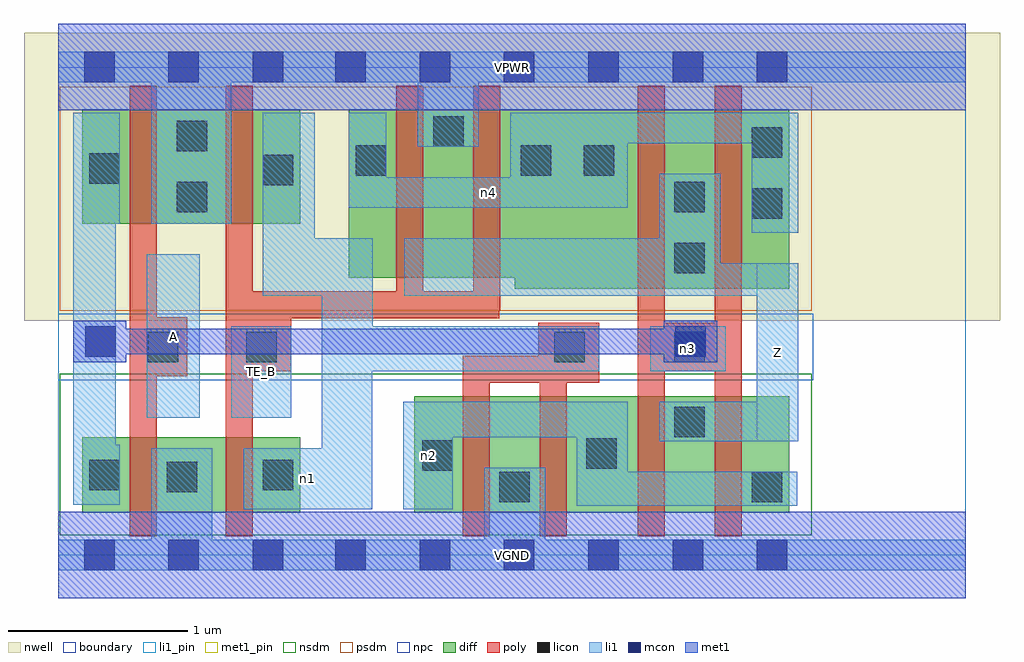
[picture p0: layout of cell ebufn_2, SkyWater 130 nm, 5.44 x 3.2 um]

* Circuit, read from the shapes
.subckt ebufn_2 A TE_B VGND VPWR Z n1 n2 n3 n4
XM1 VGND A n3 VSUBS sky130_fd_pr__nfet_01v8 w=0.42 l=0.15
XM2 n1 TE_B VGND VSUBS sky130_fd_pr__nfet_01v8 w=0.42 l=0.15
XM3 VGND n1 n2 VSUBS sky130_fd_pr__nfet_01v8 w=0.65 l=0.15 m=2
XM4 Z n3 n2 VSUBS sky130_fd_pr__nfet_01v8 w=0.65 l=0.15 m=2
XM5 VPWR A n3 n5 sky130_fd_pr__pfet_01v8 w=0.64 l=0.15
XM6 n1 TE_B VPWR n5 sky130_fd_pr__pfet_01v8 w=0.64 l=0.15
XM7 VPWR TE_B n4 n5 sky130_fd_pr__pfet_01v8 w=0.94 l=0.15 m=2
XM8 Z n3 n4 n5 sky130_fd_pr__pfet_01v8 w=1 l=0.15 m=2
.ends

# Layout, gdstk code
import gdstk
lib = gdstk.Library(unit=1e-6, precision=1e-09)
def R(c, l, rs):  # rectangles x0, y0, x1, y1
    for r in rs: c.add(gdstk.rectangle(r[:2], r[2:], *l))
def A(c, l, x, y, w, h, nx, ny, dx, dy):  # array of equal rectangles
    R(c, l, [(x+i*dx, y+j*dy, x+i*dx+w, y+j*dy+h) for i in range(nx) for j in range(ny)])
nwell = (64, 20)
diff = (65, 20)
poly = (66, 20)
licon = (66, 44)
li1_pin = (67, 16)
li1 = (67, 20)
mcon = (67, 44)
met1_pin = (68, 16)
met1 = (68, 20)
nsdm = (93, 44)
psdm = (94, 20)
npc = (95, 20)
boundary = (235, 4)

ebufn_2 = lib.new_cell('ebufn_2')
R(ebufn_2, nwell, [(-0.19,1.305,5.25,2.91), (0,1.305,5.06,2.91)])
R(ebufn_2, diff, [(0.135,0.235,1.35,0.655), (1.985,0.235,4.075,0.885), (2.545,1.485,4.075,2.485), (1.62,1.545,4.075,2.485), (0.135,1.845,1.35,2.485)])
R(ebufn_2, poly, [(0.4,0.105,0.55,2.615), (0.935,0.105,1.085,2.615), (2.255,0.105,2.405,1.11), (2.685,0.105,2.835,1.295), (3.23,0.105,3.38,2.615), (3.66,0.105,3.81,2.615), (2.255,0.96,3.015,1.11), (2.675,0.96,3.015,1.295), (0.4,0.995,0.72,1.325), (0.935,1.025,1.3,1.47), (3.23,1.025,3.81,1.295), (0.935,1.32,2.46,1.47), (1.885,1.32,2.035,2.615), (2.315,1.36,2.465,2.615)])
R(ebufn_2, licon, [(2.46,0.295,2.63,0.465), (3.865,0.295,4.035,0.465), (0.605,0.35,0.775,0.52), (0.175,0.36,0.345,0.53), (1.14,0.36,1.31,0.53), (2.03,0.47,2.2,0.64), (2.945,0.48,3.115,0.65), (3.435,0.655,3.605,0.825), (0.5,1.075,0.67,1.245), (1.05,1.075,1.22,1.245), (2.765,1.075,2.935,1.245), (3.435,1.075,3.605,1.245), (3.435,1.57,3.605,1.74), (3.865,1.875,4.035,2.045), (0.66,1.91,0.83,2.08), (3.435,1.91,3.605,2.08), (1.14,2.06,1.31,2.23), (0.175,2.07,0.345,2.24), (1.66,2.115,1.83,2.285), (2.58,2.115,2.75,2.285), (2.93,2.115,3.1,2.285), (3.865,2.215,4.035,2.385), (0.66,2.25,0.83,2.42), (2.09,2.275,2.26,2.445)])
R(ebufn_2, li1_pin, [(3.895,0.635,4.125,1.625), (0.495,0.765,0.79,1.675), (0.965,0.765,1.3,1.275)])
R(ebufn_2, li1, [(0,-0.085,5.06,0.085), (0.52,-0.085,0.86,0.595), (2.375,-0.085,2.715,0.485), (1.035,0.255,1.75,0.595), (1.47,0.255,1.75,1.765), (1.925,0.255,2.2,0.855), (2.89,0.275,4.12,0.465), (2.89,0.275,3.175,0.855), (0.085,0.28,0.32,2.465), (0.085,0.28,0.345,0.615), (3.35,0.635,4.125,0.855), (3.895,0.635,4.125,1.625), (1.925,0.655,3.175,0.855), (0.495,0.765,0.79,1.675), (0.965,0.765,1.3,1.275), (1.47,1.025,3.015,1.275), (1.47,1.025,1.755,1.765), (3.3,1.025,3.72,1.275), (1.14,1.445,1.43,2.465), (1.14,1.445,1.755,1.765), (1.93,1.445,3.69,1.765), (1.93,1.445,4.125,1.625), (3.35,1.445,3.69,2.125), (3.865,1.795,4.125,2.465), (0.085,1.845,0.345,2.465), (0.52,1.845,0.965,2.805), (1.62,1.935,3.175,2.105), (1.62,1.935,1.83,2.465), (2.52,1.935,3.175,2.465), (2.005,2.275,2.345,2.805), (2.52,2.295,4.125,2.465), (0,2.635,5.06,2.805)])
A(ebufn_2, mcon, 0.145, -0.085, 0.17, 0.17, 3, 2, 0.47, 2.72)
A(ebufn_2, mcon, 1.545, -0.085, 0.17, 0.17, 6, 2, 0.47, 2.72)
R(ebufn_2, mcon, [(0.15,1.105,0.32,1.275), (3.44,1.105,3.61,1.275)])
R(ebufn_2, met1_pin, [(0,-0.24,5.06,0.24), (0,2.48,5.06,2.96)])
R(ebufn_2, met1, [(0,-0.24,5.06,0.24), (0.085,1.075,0.38,1.305), (3.375,1.075,3.675,1.305), (0.085,1.12,3.675,1.26), (0,2.48,5.06,2.96)])
R(ebufn_2, nsdm, [(0.01,0.11,4.2,1.01)])
R(ebufn_2, psdm, [(0.01,1.36,4.2,2.61)])
R(ebufn_2, npc, [(0,0.975,4.21,1.345)])
R(ebufn_2, boundary, [(0,0,5.06,2.72)])
ebufn_2.add(gdstk.Label('A', (0.642,1.22), layer=67, texttype=5))
ebufn_2.add(gdstk.Label('TE_B', (1.132,1.02), layer=67, texttype=5))
ebufn_2.add(gdstk.Label('Z', (4.01,1.13), layer=67, texttype=5))
ebufn_2.add(gdstk.Label('n2', (2.062,0.555), layer=67, texttype=5))
ebufn_2.add(gdstk.Label('n3', (3.51,1.15), layer=67, texttype=5))
ebufn_2.add(gdstk.Label('n1', (1.392,0.425), layer=67, texttype=5))
ebufn_2.add(gdstk.Label('n4', (2.397,2.02), layer=67, texttype=5))
ebufn_2.add(gdstk.Label('VPWR', (2.53,2.72), layer=68, texttype=5))
ebufn_2.add(gdstk.Label('VGND', (2.53,0), layer=68, texttype=5))
ebufn_2.add(gdstk.Label('A', (0.642,1.22), layer=67, texttype=16))
ebufn_2.add(gdstk.Label('TE_B', (1.132,1.02), layer=67, texttype=16))
ebufn_2.add(gdstk.Label('Z', (4.01,1.13), layer=67, texttype=16))
ebufn_2.add(gdstk.Label('VPWR', (2.53,2.72), layer=68, texttype=16))
ebufn_2.add(gdstk.Label('VGND', (2.53,0), layer=68, texttype=16))

lib.write_gds('ebufn_2.gds')
